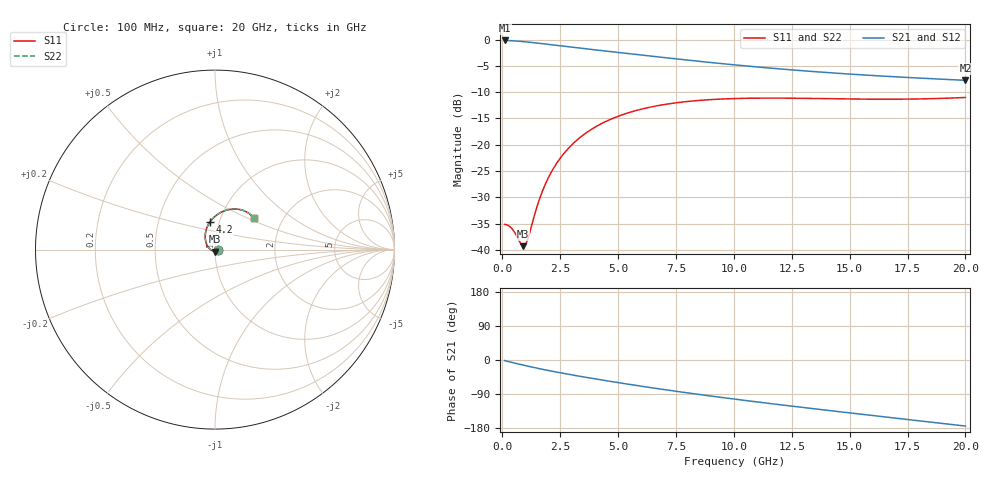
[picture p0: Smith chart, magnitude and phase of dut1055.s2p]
! Touchstone file exported from HFSS 2024.1.0
!  File:  C:/UserFiles/LocalFiles/RDL_TSV_Batchsim/temp_RDL_TSV_1055_1780089576.aedt
!  Generated:  05:32:20 AM May 30, 2026
!  Design:  RDL_TSV
!  Project:  temp_RDL_TSV_1055_1780089576
!  Setup:  Setup1
!  Solution:  Sweep
! Variables:
!  dtsv = 13.02um
!  hbump = 3um
!  htsv = 64.24um
!  ldown = 172.04um
!  lrdl = 465.78um
!  p = 40
!  p1 = 42.79um
!  rhole = 10um
!  subl = 2379.24um
!  t = 450um
!  tdown = 3.96um
!  trdl = 2.2um
!  viad = 10um
!  wdown = 19.6um
!  wrdl = 20.22um
!  xbump = 18um
# GHz S MA R 50.000000
! Terminal data exported
! Port[1] = TM1_1_T1
! Port[2] = TM1_4_T1
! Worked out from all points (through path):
!   200 points, 100 MHz to 20 GHz, reference 50 ohm
!   highest |S21| = -0.16 dB at 100 MHz (marker M1); lowest = -7.7 dB at 20 GHz (marker M2)
!   group delay of S21, straight-line fit = 23 ps
!   lowest |S11| = -39.3 dB at 900 MHz (marker M3), VSWR 1.02, Z = 50 - j1.08 ohm
!   |S11| at or under -10 dB: start of sweep to end of sweep
!   |S22| runs from -39.3 to -11.0 dB; largest |S21 - S12| = 1.4e-14
!   S11 on the Smith chart (normalised r, x): 100 MHz: 1.04, -0.00; 4.2 GHz: 0.90, +0.28; 20 GHz: 1.44, +0.55
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0.1  0.01747 -4.9  0.982 -1.6  0.982 -1.6  0.01747 -4.9
! Gamma 0 0 0 0
! Port Impedance 50 0 50 0
0.4  0.01606 -24.0  0.9761 -6.2  0.9761 -6.2  0.01606 -24.0
0.8  0.01139 -72.3  0.9621 -12.1  0.9621 -12.1  0.01138 -72.3
0.9  0.01082 -92.0  0.9578 -13.5  0.9578 -13.5  0.01081 -92.0
1  0.01118 -113.5  0.9533 -14.9  0.9533 -14.9  0.01117 -113.6
1.1  0.01261 -133.7  0.9485 -16.3  0.9485 -16.3  0.01261 -133.7
1.4  0.02178 -173.4  0.9332 -20.3  0.9332 -20.3  0.02177 -173.5
1.6  0.03009 171.5  0.9225 -22.9  0.9225 -22.9  0.0301 171.5
1.8  0.03928 160.6  0.9115 -25.4  0.9115 -25.4  0.03929 160.6
2.1  0.05399 148.1  0.8951 -29.0  0.8951 -29.0  0.054 148.1
2.4  0.06921 138.3  0.8788 -32.5  0.8788 -32.5  0.06922 138.3
2.7  0.08452 130.1  0.863 -35.9  0.863 -35.9  0.08454 130.0
3.5  0.124 112.7  0.823 -44.6  0.823 -44.6  0.124 112.6
4.2  0.1553 100.8  0.7903 -51.8  0.7903 -51.8  0.1553 100.8
5.4  0.1999 84.7  0.7381 -63.5  0.7381 -63.5  0.1999 84.7
6.8  0.2371 70.5  0.6821 -76.4  0.6821 -76.4  0.2372 70.4
8.4  0.2628 58.3  0.6251 -90.2  0.6251 -90.2  0.2628 58.2
10.1  0.2752 48.9  0.5733 -103.8  0.5733 -103.8  0.2752 48.9
11.7  0.2778 42.8  0.5328 -115.9  0.5328 -115.9  0.2778 42.8
13.4  0.2756 38.8  0.4974 -128.2  0.4974 -128.2  0.2756 38.8
16.7  0.2708 36.8  0.4462 -151.4  0.4462 -151.4  0.2708 36.8
20  0.2814 38.7  0.4099 -174.3  0.4099 -174.3  0.2814 38.7
